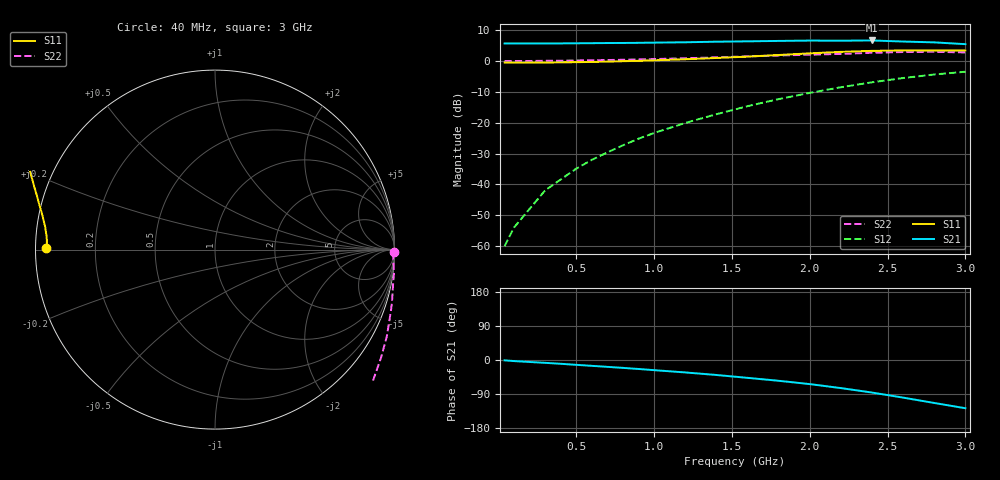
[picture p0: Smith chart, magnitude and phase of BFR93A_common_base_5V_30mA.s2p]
! Filename:  BFR93ACD.S2P  Version:  2.0
! Philips part #: BFR93A  Date: Jul 1990
! Bias condition: Vce=5V, Ic=30mA
! COMMON BASE
#  MHz  S  MA  R  50
! Freq  S11  S21  S12  S22
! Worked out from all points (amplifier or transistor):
!   21 points, 40 MHz to 3 GHz, reference 50 ohm
!   highest |S21| = 6.6 dB at 2.4 GHz (marker M1)
!   |S21| within 3 dB of that: start of sweep to end of sweep
!   unconditionally stable (mu >= 1): nowhere
!   at 300 MHz: K = -0.68, MSG = 23.8 dB, |S12| = -41.9 dB
!   at 1 GHz: K = -0.94, MSG = 14.6 dB, |S12| = -23.3 dB
!   at 3 GHz: K = -0.86, MSG = 4.5 dB, |S12| = -3.5 dB
40  0.94 179.3  1.922 -0.9  0.001 49.6  0.995 -0.9
100  0.938 178.2  1.92 -2.8  0.002 80.6  0.994 -2.7
200  0.938 176.8  1.924 -5.2  0.004 109.2  0.999 -5.0
300  0.942 175.3  1.923 -7.5  0.008 128.3  1.006 -7.5
400  0.948 173.9  1.923 -10.0  0.012 133.9  1.009 -10.2
500  0.954 172.5  1.933 -12.8  0.018 138.9  1.016 -12.9
600  0.964 171.0  1.94 -15.4  0.025 142.0  1.025 -15.6
700  0.976 169.3  1.95 -18.1  0.033 143.7  1.035 -18.4
800  0.99 167.7  1.955 -20.8  0.043 144.8  1.045 -21.2
900  1.006 166.1  1.965 -23.7  0.055 145.3  1.057 -23.9
1000  1.023 164.4  1.98 -26.8  0.068 144.8  1.073 -26.9
1200  1.065 160.9  2.006 -32.8  0.099 143.5  1.104 -33.1
1400  1.117 157.2  2.05 -39.5  0.137 140.7  1.144 -39.7
1600  1.175 152.8  2.078 -47.1  0.185 137.9  1.186 -46.8
1800  1.248 147.8  2.11 -54.8  0.241 133.1  1.224 -54.8
2000  1.327 142.4  2.137 -63.6  0.304 127.7  1.263 -63.8
2200  1.403 136.7  2.128 -74.1  0.375 121.5  1.301 -74.6
2400  1.456 129.7  2.147 -85.9  0.451 113.7  1.356 -86.1
2600  1.481 121.6  2.062 -99.3  0.529 105.4  1.394 -97.7
2800  1.478 112.0  1.999 -113.4  0.603 96.2  1.406 -109.4
3000  1.475 102.4  1.87 -127.3  0.669 88.3  1.372 -121.0
